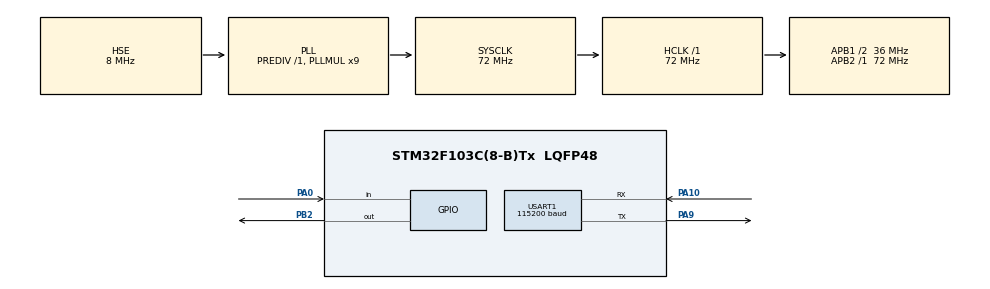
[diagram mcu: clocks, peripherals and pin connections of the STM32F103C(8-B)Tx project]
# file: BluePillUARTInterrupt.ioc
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Mcu.Family=STM32F1
Mcu.Name=STM32F103C(8-B)Tx
Mcu.Package=LQFP48
NVIC.PriorityGroup=NVIC_PRIORITYGROUP_4
NVIC.USART1_IRQn=true\:0\:0\:false\:false\:true\:true\:true\:true
PA0-WKUP.GPIO_PuPd=GPIO_PULLDOWN
PA0-WKUP.Signal=GPIO_Input
PA10.Mode=Asynchronous
PA10.Signal=USART1_RX
PA13.Mode=Serial_Wire
PA13.Signal=SYS_JTMS-SWDIO
PA14.Mode=Serial_Wire
PA14.Signal=SYS_JTCK-SWCLK
PA9.Mode=Asynchronous
PA9.Signal=USART1_TX
PB2.Signal=GPIO_Output
PD0-OSC_IN.Mode=HSE-External-Oscillator
PD0-OSC_IN.Signal=RCC_OSC_IN
PD1-OSC_OUT.Mode=HSE-External-Oscillator
PD1-OSC_OUT.Signal=RCC_OSC_OUT
ProjectManager.HeapSize=0x200
ProjectManager.StackSize=0x400
ProjectManager.TargetToolchain=STM32CubeIDE
RCC.AHBFreq_Value=72000000
RCC.APB1CLKDivider=RCC_HCLK_DIV2
RCC.APB1Freq_Value=36000000
RCC.APB1TimFreq_Value=72000000
RCC.APB2Freq_Value=72000000
RCC.APB2TimFreq_Value=72000000
RCC.HCLKFreq_Value=72000000
RCC.PLLMUL=RCC_PLL_MUL9
RCC.PLLSourceVirtual=RCC_PLLSOURCE_HSE
RCC.SYSCLKFreq_VALUE=72000000
RCC.SYSCLKSource=RCC_SYSCLKSOURCE_PLLCLK
RCC.USBFreq_Value=72000000
USART1.BaudRate=115200
USART1.VirtualMode=VM_ASYNC
USART1.WordLength=WORDLENGTH_8B
board=custom

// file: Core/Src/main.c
/* USER CODE BEGIN Header */
/**
  ******************************************************************************
  * @file           : main.c
  * @brief          : Main program body
  ******************************************************************************
  * @attention
  *
  * Copyright (c) 2025 STMicroelectronics.
  * All rights reserved.
  *
  * This software is licensed under terms that can be found in the LICENSE file
  * in the root directory of this software component.
  * If no LICENSE file comes with this software, it is provided AS-IS.
  *
  ******************************************************************************
  */
/* USER CODE END Header */
#include "main.h"

/* USER CODE BEGIN Includes */
#include <string.h>
#include <stdio.h>
#include <stdlib.h>

#define WELCOME_MSG "Welcome to the Nucleo management console\r\n"
#define MAIN_MENU   "Select the option you are interested in:\r\n\t1. Toggle PB2 LED\r\n\t2. Read USER BUTTON status\r\n\t3. Clear screen and print this message "
#define PROMPT "\r\n> "

/* USER CODE END Includes */

UART_HandleTypeDef huart1;

void SystemClock_Config(void);
static void MX_GPIO_Init(void);
static void MX_USART1_UART_Init(void);
/* USER CODE BEGIN PFP */
void performCriticalTasks(void);
void printWelcomeMessage(void);
int8_t readUserInput(void);
int8_t processUserInput(int8_t opt);
/* USER CODE END PFP */

/* USER CODE BEGIN 0 */
void printWelcomeMessage(void) {
  char *strings[] = {WELCOME_MSG, MAIN_MENU, PROMPT};

  for (uint8_t i = 0; i < 3; i++) {
	HAL_UART_Transmit_IT(&huart1, (uint8_t*)strings[i], strlen(strings[i]));
	while (HAL_UART_GetState(&huart1) == HAL_UART_STATE_BUSY_TX || HAL_UART_GetState(&huart1) == HAL_UART_STATE_BUSY_TX_RX);
  }
}

int8_t readUserInput(void) {
  int8_t retVal = -1;

  if (UartReady == SET) {
    UartReady = RESET;
    HAL_UART_Receive_IT(&huart1, (uint8_t*)readBuf, 1);
    retVal = atoi(readBuf);
  }
  return retVal;
}

int8_t processUserInput(int8_t opt) {
  char msg[30];

  if (!(opt >= 1 && opt <= 3))
  {
	return 0;
  }

  sprintf(msg, "%d", opt);
  HAL_UART_Transmit(&huart1, (uint8_t*)msg, strlen(msg), HAL_MAX_DELAY);

  switch(opt) {
  case 1:
    HAL_GPIO_TogglePin(GPIOB, GPIO_PIN_2);
    break;
  case 2:
    sprintf(msg, "\r\nUSER BUTTON status: %s",
    HAL_GPIO_ReadPin(GPIOA, GPIO_PIN_0) == GPIO_PIN_SET ? "PRESSED" : "RELEASED");
    HAL_UART_Transmit(&huart1, (uint8_t*)msg, strlen(msg), HAL_MAX_DELAY);
    break;
  case 3:
    return 2;
  };

  HAL_UART_Transmit(&huart1, (uint8_t*)PROMPT, strlen(PROMPT), HAL_MAX_DELAY);
  return 1;
}

void performCriticalTasks(void) {
  HAL_Delay(100);
}
/* USER CODE END 0 */

int main(void)
{

  /* USER CODE BEGIN 1 */
  int8_t opt = 0;
  /* USER CODE END 1 */

  /* MCU Configuration--------------------------------------------------------*/

  /* Reset of all peripherals, Initializes the Flash interface and the Systick. */
  HAL_Init();

  /* Configure the system clock */
  SystemClock_Config();

  /* Initialize all configured peripherals */
  MX_GPIO_Init();
  MX_USART1_UART_Init();

  /* Infinite loop */
  /* USER CODE BEGIN WHILE */
printMessage:
  printWelcomeMessage();
  while (1)
  {
    opt = readUserInput();
	processUserInput(opt);
	if (opt > 0)
	{
	  processUserInput(opt);
	  if (opt == 3)
	  {
	    goto printMessage;
	  }
	}
	performCriticalTasks();
    /* USER CODE END WHILE */

  }
}

void SystemClock_Config(void)
{
  RCC_OscInitTypeDef RCC_OscInitStruct = {0};
  RCC_ClkInitTypeDef RCC_ClkInitStruct = {0};

  /** Initializes the RCC Oscillators according to the specified parameters
  * in the RCC_OscInitTypeDef structure.
  */
  RCC_OscInitStruct.OscillatorType = RCC_OSCILLATORTYPE_HSE;
  RCC_OscInitStruct.HSEState = RCC_HSE_ON;
  RCC_OscInitStruct.HSEPredivValue = RCC_HSE_PREDIV_DIV1;
  RCC_OscInitStruct.HSIState = RCC_HSI_ON;
  RCC_OscInitStruct.PLL.PLLState = RCC_PLL_ON;
  RCC_OscInitStruct.PLL.PLLSource = RCC_PLLSOURCE_HSE;
  RCC_OscInitStruct.PLL.PLLMUL = RCC_PLL_MUL9;
  if (HAL_RCC_OscConfig(&RCC_OscInitStruct) != HAL_OK)
  {
    Error_Handler();
  }

  /** Initializes the CPU, AHB and APB buses clocks
  */
  RCC_ClkInitStruct.ClockType = RCC_CLOCKTYPE_HCLK|RCC_CLOCKTYPE_SYSCLK
                              |RCC_CLOCKTYPE_PCLK1|RCC_CLOCKTYPE_PCLK2;
  RCC_ClkInitStruct.SYSCLKSource = RCC_SYSCLKSOURCE_PLLCLK;
  RCC_ClkInitStruct.AHBCLKDivider = RCC_SYSCLK_DIV1;
  RCC_ClkInitStruct.APB1CLKDivider = RCC_HCLK_DIV2;
  RCC_ClkInitStruct.APB2CLKDivider = RCC_HCLK_DIV1;

  if (HAL_RCC_ClockConfig(&RCC_ClkInitStruct, FLASH_LATENCY_2) != HAL_OK)
  {
    Error_Handler();
  }
}

static void MX_USART1_UART_Init(void)
{

  huart1.Instance = USART1;
  huart1.Init.BaudRate = 115200;
  huart1.Init.WordLength = UART_WORDLENGTH_8B;
  huart1.Init.StopBits = UART_STOPBITS_1;
  huart1.Init.Parity = UART_PARITY_NONE;
  huart1.Init.Mode = UART_MODE_TX_RX;
  huart1.Init.HwFlowCtl = UART_HWCONTROL_NONE;
  huart1.Init.OverSampling = UART_OVERSAMPLING_16;
  if (HAL_UART_Init(&huart1) != HAL_OK)
  {
    Error_Handler();
  }

}

static void MX_GPIO_Init(void)
{
  GPIO_InitTypeDef GPIO_InitStruct = {0};

  /* GPIO Ports Clock Enable */
  __HAL_RCC_GPIOD_CLK_ENABLE();
  __HAL_RCC_GPIOA_CLK_ENABLE();
  __HAL_RCC_GPIOB_CLK_ENABLE();

  /*Configure GPIO pin Output Level */
  HAL_GPIO_WritePin(GPIOB, GPIO_PIN_2, GPIO_PIN_RESET);

  /*Configure GPIO pin : PA0 */
  GPIO_InitStruct.Pin = GPIO_PIN_0;
  GPIO_InitStruct.Mode = GPIO_MODE_INPUT;
  GPIO_InitStruct.Pull = GPIO_PULLDOWN;
  HAL_GPIO_Init(GPIOA, &GPIO_InitStruct);

  /*Configure GPIO pin : PB2 */
  GPIO_InitStruct.Pin = GPIO_PIN_2;
  GPIO_InitStruct.Mode = GPIO_MODE_OUTPUT_PP;
  GPIO_InitStruct.Pull = GPIO_NOPULL;
  GPIO_InitStruct.Speed = GPIO_SPEED_FREQ_LOW;
  HAL_GPIO_Init(GPIOB, &GPIO_InitStruct);

}

/* USER CODE BEGIN 4 */
void HAL_UART_RxCpltCallback(UART_HandleTypeDef *UartHandle) {
  /* Set transmission flag: transfer complete*/
  UartReady = SET;
}
/* USER CODE END 4 */

void Error_Handler(void)
{
  __disable_irq();
  while (1)
  {
  }
}
